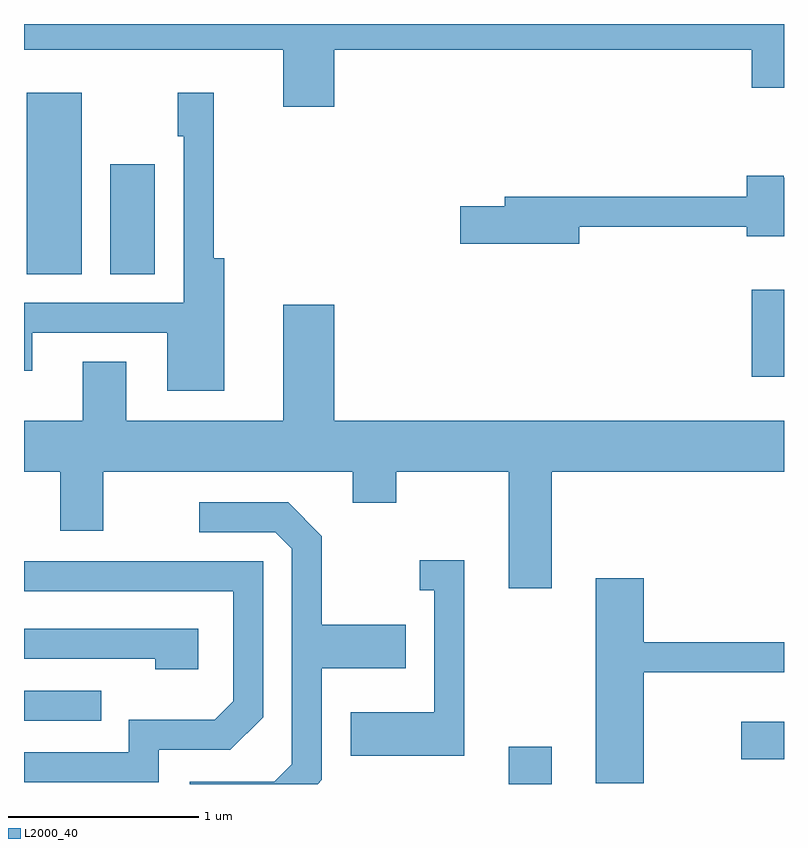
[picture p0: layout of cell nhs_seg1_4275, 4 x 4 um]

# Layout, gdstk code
import gdstk
lib = gdstk.Library(unit=1e-6, precision=1e-09)
def R(c, l, rs):  # rectangles x0, y0, x1, y1
    for r in rs: c.add(gdstk.rectangle(r[:2], r[2:], *l))
def P(c, l, *ps):  # polygons
    for p in ps: c.add(gdstk.Polygon(p, *l))
L2000_40 = (2000, 40)

nhs_seg1_4275 = lib.new_cell('nhs_seg1_4275')
R(nhs_seg1_4275, L2000_40, [(316.161,895.712,316.389,895.909), (317.386,895.841,317.611,896.039), (313.611,896.046,314.018,896.204), (317.441,897.856,317.611,898.314), (313.626,898.396,313.914,899.349), (314.066,898.396,314.299,898.974)])
P(nhs_seg1_4275, L2000_40, [(315.244,899.576),(317.441,899.576),(317.441,899.376),(317.611,899.376),(317.611,899.712),(313.611,899.712),(313.611,899.576),(314.976,899.576),(314.976,899.276),(315.244,899.276)],
  [(314.664,898.479),(314.609,898.479),(314.609,899.349),(314.421,899.349),(314.421,899.121),(314.451,899.121),(314.451,898.244),(313.611,898.244),(313.611,897.888),(313.654,897.888),(313.654,898.086),(314.366,898.086),(314.366,897.781),(314.664,897.781)],
  [(316.534,898.646),(317.416,898.646),(317.416,898.596),(317.611,898.596),(317.611,898.904),(317.61,898.904),(317.61,898.914),(317.416,898.914),(317.416,898.804),(316.141,898.804),(316.141,898.754),(315.906,898.754),(315.906,898.556),(316.534,898.556)],
  [(316.389,897.356),(317.611,897.356),(317.611,897.624),(315.244,897.624),(315.244,898.234),(314.976,898.234),(314.976,897.624),(314.149,897.624),(314.149,897.934),(313.921,897.934),(313.921,897.624),(313.611,897.624),(313.611,897.356),(313.801,897.356),(313.801,897.046),(314.029,897.046),(314.029,897.356),(315.341,897.356),(315.341,897.191),(315.569,897.191),(315.569,897.356),(316.161,897.356),(316.161,896.741),(316.389,896.741)],
  [(315.179,895.734),(315.179,896.321),(315.619,896.321),(315.619,896.549),(315.179,896.549),(315.179,897.017),(315.002,897.194),(314.533,897.194),(314.533,897.036),(314.934,897.036),(315.021,896.949),(315.021,895.817),(314.929,895.724),(314.483,895.724),(314.483,895.712),(315.157,895.712)],
  [(315.929,896.889),(315.693,896.889),(315.693,896.731),(315.771,896.731),(315.771,896.089),(315.331,896.089),(315.331,895.861),(315.929,895.861)],
  [(314.319,895.891),(314.697,895.891),(314.869,896.064),(314.869,896.884),(313.611,896.884),(313.611,896.726),(314.711,896.726),(314.711,896.147),(314.614,896.049),(314.161,896.049),(314.161,895.879),(313.611,895.879),(313.611,895.721),(314.319,895.721)],
  [(316.874,896.301),(317.611,896.301),(317.611,896.459),(316.874,896.459),(316.874,896.794),(316.621,896.794),(316.621,895.716),(316.874,895.716)],
  [(314.529,896.529),(313.611,896.529),(313.611,896.371),(314.301,896.371),(314.301,896.316),(314.529,896.316)])

lib.write_gds('nhs_seg1_4275.gds')
